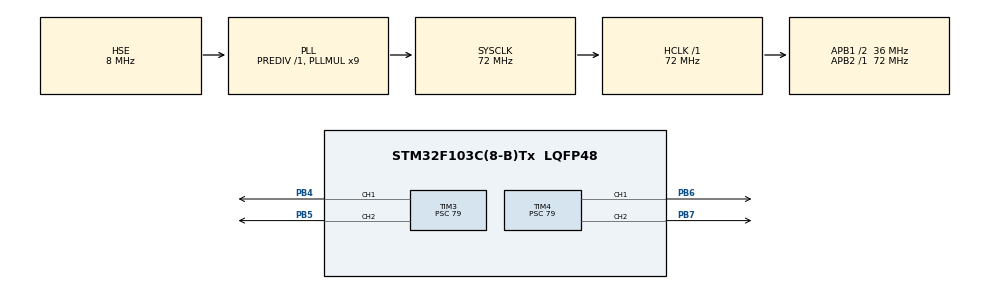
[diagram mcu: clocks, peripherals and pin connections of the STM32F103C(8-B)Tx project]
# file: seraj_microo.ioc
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Mcu.Family=STM32F1
Mcu.Name=STM32F103C(8-B)Tx
Mcu.Package=LQFP48
NVIC.PriorityGroup=NVIC_PRIORITYGROUP_4
PA13.Mode=Serial_Wire
PA13.Signal=SYS_JTMS-SWDIO
PA14.Mode=Serial_Wire
PA14.Signal=SYS_JTCK-SWCLK
PB4.Signal=S_TIM3_CH1
PB5.Signal=S_TIM3_CH2
PB6.Signal=S_TIM4_CH1
PB7.Signal=S_TIM4_CH2
PD0-OSC_IN.Mode=HSE-External-Oscillator
PD0-OSC_IN.Signal=RCC_OSC_IN
PD1-OSC_OUT.Mode=HSE-External-Oscillator
PD1-OSC_OUT.Signal=RCC_OSC_OUT
ProjectManager.HeapSize=0x200
ProjectManager.StackSize=0x400
ProjectManager.TargetToolchain=MDK-ARM V5.32
RCC.AHBFreq_Value=72000000
RCC.APB1CLKDivider=RCC_HCLK_DIV2
RCC.APB1Freq_Value=36000000
RCC.APB1TimFreq_Value=72000000
RCC.APB2Freq_Value=72000000
RCC.APB2TimFreq_Value=72000000
RCC.HCLKFreq_Value=72000000
RCC.PLLMUL=RCC_PLL_MUL9
RCC.PLLSourceVirtual=RCC_PLLSOURCE_HSE
RCC.SYSCLKFreq_VALUE=72000000
RCC.SYSCLKSource=RCC_SYSCLKSOURCE_PLLCLK
RCC.USBFreq_Value=72000000
SH.S_TIM3_CH1.0=TIM3_CH1,PWM Generation1 CH1
SH.S_TIM3_CH2.0=TIM3_CH2,PWM Generation2 CH2
SH.S_TIM4_CH1.0=TIM4_CH1,PWM Generation1 CH1
SH.S_TIM4_CH2.0=TIM4_CH2,PWM Generation2 CH2
TIM1.Period=0xffff-1
TIM1.Prescaler=72-1
TIM3.Channel-PWM\ Generation1\ CH1=TIM_CHANNEL_1
TIM3.Channel-PWM\ Generation2\ CH2=TIM_CHANNEL_2
TIM3.Period=999
TIM3.Prescaler=79
TIM3.Pulse-PWM\ Generation1\ CH1=500
TIM4.Channel-PWM\ Generation1\ CH1=TIM_CHANNEL_1
TIM4.Channel-PWM\ Generation2\ CH2=TIM_CHANNEL_2
TIM4.Period=999
TIM4.Prescaler=79
TIM4.Pulse-PWM\ Generation1\ CH1=500
VP_TIM1_VS_ClockSourceINT.Mode=Internal
VP_TIM3_VS_ClockSourceINT.Mode=Internal
VP_TIM4_VS_ClockSourceINT.Mode=Internal
board=custom

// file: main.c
/* USER CODE BEGIN Header */
/**
  ******************************************************************************
  * @file           : main.c
  * @brief          : Main program body
  ******************************************************************************
  * @attention
  *
  * Copyright (c) 2022 STMicroelectronics.
  * All rights reserved.
  *
  * This software is licensed under terms that can be found in the LICENSE file
  * in the root directory of this software component.
  * If no LICENSE file comes with this software, it is provided AS-IS.
  *
  ******************************************************************************
  */
/* USER CODE END Header */
#include "main.h"
#include "tim.h"
#include "gpio.h"

/* USER CODE BEGIN PV */
const int ARR = 10;
/* USER CODE END PV */

void SystemClock_Config(void);
/* USER CODE BEGIN PFP */
void motor_control (double pos_right, double pos_left);
/* USER CODE END PFP */

int main(void)
{

  /* MCU Configuration--------------------------------------------------------*/

  /* Reset of all peripherals, Initializes the Flash interface and the Systick. */
  HAL_Init();

  /* Configure the system clock */
  SystemClock_Config();

  /* Initialize all configured peripherals */
  MX_GPIO_Init();
  MX_TIM1_Init();
  MX_TIM3_Init();
  MX_TIM4_Init();
  /* USER CODE BEGIN 2 */
  HAL_TIM_Base_Start(&htim3);               //Initialize stm32 timer 3
	HAL_TIM_Base_Start(&htim4);               //Initialize stm32 timer 4
  HAL_TIM_PWM_Start(&htim3,TIM_CHANNEL_1);
  HAL_TIM_PWM_Start(&htim3,TIM_CHANNEL_2);
  HAL_TIM_PWM_Start(&htim4,TIM_CHANNEL_1);
  HAL_TIM_PWM_Start(&htim4,TIM_CHANNEL_2);
  /* USER CODE END 2 */

  /* Infinite loop */
  while (1)
  {

    /* USER CODE BEGIN 3 */
	//	motor_control(-53, 70);
	//	motor_control(70, -53);
	//	motor_control(100, -20);
		motor_control(30, 30);
  }
  /* USER CODE END 3 */
}

void SystemClock_Config(void)
{
  RCC_OscInitTypeDef RCC_OscInitStruct = {0};
  RCC_ClkInitTypeDef RCC_ClkInitStruct = {0};

  /** Initializes the RCC Oscillators according to the specified parameters
  * in the RCC_OscInitTypeDef structure.
  */
  RCC_OscInitStruct.OscillatorType = RCC_OSCILLATORTYPE_HSE;
  RCC_OscInitStruct.HSEState = RCC_HSE_ON;
  RCC_OscInitStruct.HSEPredivValue = RCC_HSE_PREDIV_DIV1;
  RCC_OscInitStruct.HSIState = RCC_HSI_ON;
  RCC_OscInitStruct.PLL.PLLState = RCC_PLL_ON;
  RCC_OscInitStruct.PLL.PLLSource = RCC_PLLSOURCE_HSE;
  RCC_OscInitStruct.PLL.PLLMUL = RCC_PLL_MUL9;
  if (HAL_RCC_OscConfig(&RCC_OscInitStruct) != HAL_OK)
  {
    Error_Handler();
  }
  /** Initializes the CPU, AHB and APB buses clocks
  */
  RCC_ClkInitStruct.ClockType = RCC_CLOCKTYPE_HCLK|RCC_CLOCKTYPE_SYSCLK
                              |RCC_CLOCKTYPE_PCLK1|RCC_CLOCKTYPE_PCLK2;
  RCC_ClkInitStruct.SYSCLKSource = RCC_SYSCLKSOURCE_PLLCLK;
  RCC_ClkInitStruct.AHBCLKDivider = RCC_SYSCLK_DIV1;
  RCC_ClkInitStruct.APB1CLKDivider = RCC_HCLK_DIV2;
  RCC_ClkInitStruct.APB2CLKDivider = RCC_HCLK_DIV1;

  if (HAL_RCC_ClockConfig(&RCC_ClkInitStruct, FLASH_LATENCY_2) != HAL_OK)
  {
    Error_Handler();
  }
}

/* USER CODE BEGIN 4 */
void motor_control (double pos_right, double pos_left)
{
	if (pos_left < 0 )
	{
		__HAL_TIM_SET_COMPARE (&htim3, TIM_CHANNEL_1, ARR*0);
		__HAL_TIM_SET_COMPARE (&htim3, TIM_CHANNEL_2, ARR*pos_left);
	}
	else
	{
		__HAL_TIM_SET_COMPARE (&htim3, TIM_CHANNEL_1, ARR*pos_left);
		__HAL_TIM_SET_COMPARE (&htim3, TIM_CHANNEL_2, ARR*0);
	}
	if (pos_right < 0 )
	{
		__HAL_TIM_SET_COMPARE (&htim4, TIM_CHANNEL_1, ARR*0);
		__HAL_TIM_SET_COMPARE (&htim4, TIM_CHANNEL_2, ARR*pos_right);
	}
	else
	{
		__HAL_TIM_SET_COMPARE (&htim4, TIM_CHANNEL_1, ARR*pos_right);
		__HAL_TIM_SET_COMPARE (&htim4, TIM_CHANNEL_2, ARR*0);
	}
}
/* USER CODE END 4 */

void Error_Handler(void)
{
  __disable_irq();
  while (1)
  {
  }
}
